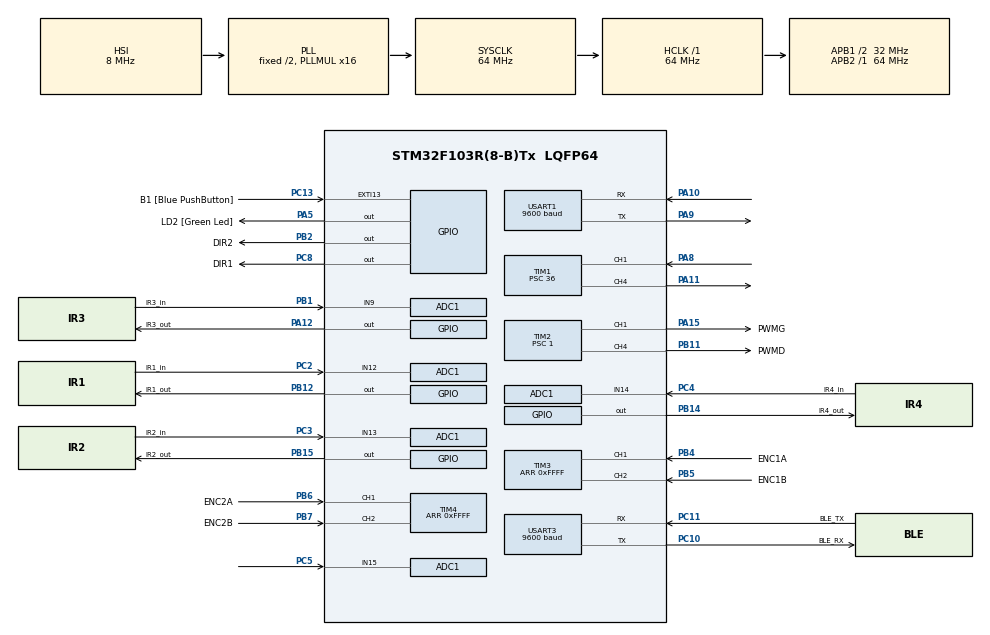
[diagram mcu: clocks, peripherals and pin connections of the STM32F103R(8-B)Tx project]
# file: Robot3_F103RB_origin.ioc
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ADC1.AWD1HighThreshold=3200
ADC1.AWD1ITMode=ENABLE
ADC1.AWD1LowThreshold=3000
ADC1.Channel-0\#ChannelRegularConversion=ADC_CHANNEL_9
ADC1.Channel-1\#ChannelRegularConversion=ADC_CHANNEL_12
ADC1.Channel-2\#ChannelRegularConversion=ADC_CHANNEL_13
ADC1.Channel-3\#ChannelRegularConversion=ADC_CHANNEL_14
ADC1.Channel-4\#ChannelRegularConversion=ADC_CHANNEL_15
ADC1.ContinuousConvMode=DISABLE
ADC1.DataAlign=ADC_DATAALIGN_RIGHT
ADC1.DiscontinuousConvMode=DISABLE
ADC1.EnableAnalogWatchDog=true
ADC1.EnableRegularConversion=ENABLE
ADC1.ExternalTrigConv=ADC_SOFTWARE_START
ADC1.InjNumberOfConversion=0
ADC1.NbrOfConversion=5
ADC1.NbrOfConversionFlag=1
ADC1.Rank-0\#ChannelRegularConversion=1
ADC1.Rank-1\#ChannelRegularConversion=2
ADC1.Rank-2\#ChannelRegularConversion=3
ADC1.Rank-3\#ChannelRegularConversion=4
ADC1.Rank-4\#ChannelRegularConversion=5
ADC1.SamplingTime-0\#ChannelRegularConversion=ADC_SAMPLETIME_239CYCLES_5
ADC1.SamplingTime-1\#ChannelRegularConversion=ADC_SAMPLETIME_239CYCLES_5
ADC1.SamplingTime-2\#ChannelRegularConversion=ADC_SAMPLETIME_239CYCLES_5
ADC1.SamplingTime-3\#ChannelRegularConversion=ADC_SAMPLETIME_239CYCLES_5
ADC1.SamplingTime-4\#ChannelRegularConversion=ADC_SAMPLETIME_1CYCLE_5
ADC1.ScanConvMode=ADC_SCAN_ENABLE
ADC1.WatchdogChannel=ADC_CHANNEL_15
ADC1.master=1
Dma.ADC1.0.Direction=DMA_PERIPH_TO_MEMORY
Dma.ADC1.0.Instance=DMA1_Channel1
Dma.ADC1.0.MemDataAlignment=DMA_MDATAALIGN_HALFWORD
Dma.ADC1.0.MemInc=DMA_MINC_ENABLE
Dma.ADC1.0.Mode=DMA_CIRCULAR
Dma.ADC1.0.PeriphDataAlignment=DMA_PDATAALIGN_HALFWORD
Dma.ADC1.0.PeriphInc=DMA_PINC_DISABLE
Dma.ADC1.0.Priority=DMA_PRIORITY_LOW
Dma.Request0=ADC1
Mcu.Family=STM32F1
Mcu.Name=STM32F103R(8-B)Tx
Mcu.Package=LQFP64
NVIC.ADC1_2_IRQn=true\:0\:0\:false\:false\:true\:true\:true\:true
NVIC.DMA1_Channel1_IRQn=true\:0\:0\:false\:false\:true\:true\:true\:true
NVIC.EXTI15_10_IRQn=true\:0\:0\:false\:true\:true\:1\:true\:true\:true
NVIC.PriorityGroup=NVIC_PRIORITYGROUP_4
NVIC.TIM1_CC_IRQn=true\:0\:0\:false\:false\:true\:true\:true\:true
NVIC.TIM2_IRQn=true\:0\:0\:false\:false\:true\:true\:true\:true
NVIC.USART1_IRQn=true\:0\:0\:false\:false\:true\:true\:true\:true
NVIC.USART3_IRQn=true\:0\:0\:false\:true\:true\:2\:true\:true\:true
PA10.Mode=Asynchronous
PA10.Signal=USART1_RX
PA11.Signal=S_TIM1_CH4
PA12.GPIO_Label=IR3_out
PA12.Signal=GPIO_Output
PA13.GPIO_Label=TMS
PA13.Mode=Serial_Wire
PA13.Signal=SYS_JTMS-SWDIO
PA14.GPIO_Label=TCK
PA14.Mode=Serial_Wire
PA14.Signal=SYS_JTCK-SWCLK
PA15.GPIO_Label=PWMG
PA15.Signal=S_TIM2_CH1_ETR
PA2.GPIO_Label=USART_TX
PA2.GPIO_Mode=GPIO_MODE_AF_PP
PA2.GPIO_PuPd=GPIO_NOPULL
PA2.GPIO_Speed=GPIO_SPEED_FREQ_LOW
PA2.Signal=USART2_TX
PA3.GPIO_Label=USART_RX
PA3.GPIO_Mode=GPIO_MODE_AF_PP
PA3.GPIO_PuPd=GPIO_NOPULL
PA3.GPIO_Speed=GPIO_SPEED_FREQ_LOW
PA3.Signal=USART2_RX
PA5.GPIO_Label=LD2 [Green Led]
PA5.GPIO_ModeDefaultOutputPP=GPIO_MODE_OUTPUT_PP
PA5.GPIO_PuPd=GPIO_NOPULL
PA5.GPIO_Speed=GPIO_SPEED_FREQ_LOW
PA5.Signal=GPIO_Output
PA8.Signal=S_TIM1_CH1
PA9.Mode=Asynchronous
PA9.Signal=USART1_TX
PB1.GPIO_Label=IR3_in
PB1.Signal=ADCx_IN9
PB11.GPIO_Label=PWMD
PB11.Signal=S_TIM2_CH4
PB12.GPIO_Label=IR1_out
PB12.Signal=GPIO_Output
PB14.GPIO_Label=IR4_out
PB14.Signal=GPIO_Output
PB15.GPIO_Label=IR2_out
PB15.Signal=GPIO_Output
PB2.GPIO_Label=DIR2
PB2.Signal=GPIO_Output
PB3.GPIO_Label=SWO
PB3.Signal=SYS_JTDO-TRACESWO
PB4.GPIO_Label=ENC1A
PB4.Signal=S_TIM3_CH1
PB5.GPIO_Label=ENC1B
PB5.Signal=S_TIM3_CH2
PB6.GPIO_Label=ENC2A
PB6.Signal=S_TIM4_CH1
PB7.GPIO_Label=ENC2B
PB7.Signal=S_TIM4_CH2
PC10.GPIO_Label=BLE_RX
PC10.Mode=Asynchronous
PC10.Signal=USART3_TX
PC11.GPIO_Label=BLE_TX
PC11.Mode=Asynchronous
PC11.Signal=USART3_RX
PC13-TAMPER-RTC.GPIO_Label=B1 [Blue PushButton]
PC13-TAMPER-RTC.GPIO_ModeDefaultEXTI=GPIO_MODE_IT_FALLING
PC13-TAMPER-RTC.GPIO_PuPd=GPIO_NOPULL
PC13-TAMPER-RTC.Signal=GPXTI13
PC14-OSC32_IN.Signal=RCC_OSC32_IN
PC15-OSC32_OUT.Signal=RCC_OSC32_OUT
PC2.GPIO_Label=IR1_in
PC2.Signal=ADCx_IN12
PC3.GPIO_Label=IR2_in
PC3.Signal=ADCx_IN13
PC4.GPIO_Label=IR4_in
PC4.Signal=ADCx_IN14
PC5.Signal=ADCx_IN15
PC8.GPIO_Label=DIR1
PC8.Signal=GPIO_Output
PD0-OSC_IN.Signal=RCC_OSC_IN
PD1-OSC_OUT.Signal=RCC_OSC_OUT
ProjectManager.HeapSize=0x200
ProjectManager.StackSize=0x400
ProjectManager.TargetToolchain=STM32CubeIDE
RCC.ADCPresc=RCC_ADCPCLK2_DIV8
RCC.AHBFreq_Value=64000000
RCC.APB1CLKDivider=RCC_HCLK_DIV2
RCC.APB1Freq_Value=32000000
RCC.APB1TimFreq_Value=64000000
RCC.APB2Freq_Value=64000000
RCC.APB2TimFreq_Value=64000000
RCC.HCLKFreq_Value=64000000
RCC.PLLMUL=RCC_PLL_MUL16
RCC.SYSCLKFreq_VALUE=64000000
RCC.SYSCLKSource=RCC_SYSCLKSOURCE_PLLCLK
RCC.USBFreq_Value=64000000
SH.ADCx_IN12.0=ADC1_IN12,IN12
SH.ADCx_IN13.0=ADC1_IN13,IN13
SH.ADCx_IN14.0=ADC1_IN14,IN14
SH.ADCx_IN15.0=ADC1_IN15,IN15
SH.ADCx_IN9.0=ADC1_IN9,IN9
SH.S_TIM1_CH1.0=TIM1_CH1,PWM_Input_1
SH.S_TIM1_CH4.0=TIM1_CH4,PWM Generation4 CH4
SH.S_TIM2_CH1_ETR.0=TIM2_CH1,PWM Generation1 CH1
SH.S_TIM2_CH4.0=TIM2_CH4,PWM Generation4 CH4
SH.S_TIM3_CH1.0=TIM3_CH1,Encoder_Interface
SH.S_TIM3_CH2.0=TIM3_CH2,Encoder_Interface
SH.S_TIM4_CH1.0=TIM4_CH1,Encoder_Interface
SH.S_TIM4_CH2.0=TIM4_CH2,Encoder_Interface
TIM1.AutoReloadPreload=TIM_AUTORELOAD_PRELOAD_ENABLE
TIM1.Channel-PWM\ Generation4\ CH4=TIM_CHANNEL_4
TIM1.ICFilter_1=5
TIM1.ICFilter_2=5
TIM1.Period=0xFFFF
TIM1.Prescaler=36
TIM2.AutoReloadPreload=TIM_AUTORELOAD_PRELOAD_DISABLE
TIM2.Channel-Output\ Compare2\ No\ Output=TIM_CHANNEL_2
TIM2.Channel-PWM\ Generation1\ CH1=TIM_CHANNEL_1
TIM2.Channel-PWM\ Generation4\ CH4=TIM_CHANNEL_4
TIM2.Period=64000
TIM2.Prescaler=1
TIM3.AutoReloadPreload=TIM_AUTORELOAD_PRELOAD_ENABLE
TIM3.EncoderMode=TIM_ENCODERMODE_TI12
TIM3.IC1Filter=8
TIM3.IC1Polarity=TIM_ICPOLARITY_RISING
TIM3.IC2Filter=8
TIM3.IC2Polarity=TIM_ICPOLARITY_RISING
TIM3.Period=0xFFFF
TIM4.AutoReloadPreload=TIM_AUTORELOAD_PRELOAD_ENABLE
TIM4.EncoderMode=TIM_ENCODERMODE_TI12
TIM4.IC1Filter=8
TIM4.IC1Polarity=TIM_ICPOLARITY_RISING
TIM4.IC2Filter=8
TIM4.IC2Polarity=TIM_ICPOLARITY_RISING
TIM4.Period=0xFFFF
USART1.BaudRate=9600
USART1.VirtualMode=VM_ASYNC
USART3.BaudRate=9600
USART3.VirtualMode=VM_ASYNC
VP_TIM2_VS_ClockSourceINT.Mode=Internal
VP_TIM2_VS_no_output2.Mode=Output Compare2 No Output
board=NUCLEO-F103RB

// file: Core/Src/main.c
/* USER CODE BEGIN Header */
/**
  ******************************************************************************
  * @file           : main.c
  * @brief          : Main program body
  ******************************************************************************
  * @attention
  *
  * <h2><center>&copy; Copyright (c) 2020 STMicroelectronics.
  * All rights reserved.</center></h2>
  *
  * This software component is licensed by ST under BSD 3-Clause license,
  * the "License"; You may not use this file except in compliance with the
  * License. You may obtain a copy of the License at:
  *                        opensource.org/licenses/BSD-3-Clause
  *
  ******************************************************************************
  */
/* USER CODE END Header */
#include "main.h"
#include "adc.h"
#include "dma.h"
#include "tim.h"
#include "usart.h"
#include "gpio.h"

/* USER CODE BEGIN Includes */
#include <stdlib.h>
#include <stdio.h>
/* USER CODE END Includes */

/* USER CODE BEGIN PV */
#define AVANCE 	GPIO_PIN_SET
#define RECULE  GPIO_PIN_RESET
#define POURCENT 640
#define Seuil_Dist_4 1600 // corespond à 10 cm.
#define Seuil_Dist_3 1600
#define Seuil_Dist_1 1600
#define Seuil_Dist_2 1600
#define V1 38
#define V2 56
#define V3 76
#define Vmax 95
#define T_2_S     1000 //( pwm période = 2 ms )
#define T_200_MS  100
#define T_2000_MS 1000
#define CKp_D 100  //80 Robot1
#define CKp_G 100  //80 Robot1
#define CKi_D 80  //50 Robot1
#define CKi_G 80  //50 Robot1
#define CKd_D 0
#define CKd_G 0
#define DELTA 0x50

#define PWM_180 1500
#define PWM_90  2700
#define PWM_0   3900

#define TURN_SERVO_TIME 600
#define TURN_LEFT_TIME  1150
#define TURN_RIGHT_TIME 1150
#define FORWARD_50_TIME 1000

#define cptRota 2000

enum CMDE {
	START,
	STOP,
	STOP_ARRET,
	AVANT,
	ARRIERE,
	DROITE,
	GAUCHE,
	SERVO_ROTATE_0,
	SERVO_ROTATE_90,
	SERVO_ROTATE_180,
	PARK,
	MOV_PARK
};

enum MODE {
	SLEEP, ACTIF
};

enum Mesure_State {
	SERVO_ROTATE_Y,
	MESURE_Y,
	SERVO_ROTATE_X,
	MESURE_X,
	SERVO_ROTATE_Z,
	MESURE_Z,
	END
};

enum MovPark_State {
	FORWARD,
	POSITION,
	TURN_R1,
	TURN_L1,
	TURN_R2,
	TURN_L2,
	FORWARD_Y,
	FORWARD_Z,
	FORWARD_X,
	FINISH
};

enum Mean_Distance_State {
	WAIT_MESURE,
	MEAN_MESURE
};

enum Mean_Distance_State Distance_State = WAIT_MESURE;
enum MovPark_State MovPark_State = FINISH;
volatile enum CMDE CMDE;
enum Mesure_State Mesure_State = END;
volatile enum MODE Mode;

volatile unsigned char New_CMDE = 0;
volatile uint16_t Dist_ACS_1, Dist_ACS_2, Dist_ACS_3, Dist_ACS_4;
volatile unsigned int Time = 0;
volatile unsigned int Tech = 0;
uint16_t adc_buffer[10];
uint16_t Buff_Dist[8];
uint8_t BLUE_RX;

uint16_t _DirG, _DirD, CVitG, CVitD, DirD, DirG;
uint16_t _CVitD = 0;
uint16_t _CVitG = 0;
uint16_t VitD, VitG;
int16_t DistD, DistG;
int16_t DistD_old = 0;
int16_t DistG_old = 0;
int Cmde_VitD = 0;
int Cmde_VitG = 0;
unsigned long Dist_parcours = 0;
volatile uint32_t Dist_Obst;
volatile uint32_t Dist_Obst_;
volatile uint32_t Dist_Obst_cm;
volatile uint32_t Derniere_Dist_Obst_cm;

// ADDED VARIABLES
uint32_t Dist;
volatile uint32_t vbatt; //  STOCKER LA TENSION MESURÉE DE LA BATTERIE
// REPÉRAGE SPATIALE DU ROBOT
static uint32_t z0;
static uint32_t x0;
static uint32_t y0;
static uint32_t z;
static uint32_t x;
static uint32_t y;
// COMPTEURS POUR LE DÉPLACEMENT
volatile uint16_t TurnServoCounter = 0;
volatile uint16_t TurnCounter = 0;
volatile uint16_t tour_dist = 0;
static uint8_t tab_elem = 0;
// SIGNAUX DE CONTRÔLE DES ACTIONS DU ROBOT
volatile uint8_t Mesure_On   = 0;
volatile uint8_t Mesure_Park_On   = 0;
volatile uint8_t Mean         = 1;
volatile uint8_t MovPark_On   = 0;
volatile uint8_t TurnRightOn = 0;
volatile uint8_t TurnLeftOn  = 0;
// MESURE DISTANCE SONAR
volatile uint32_t Dist_Obst_cm_moy;
volatile uint32_t Dist_cm[5] = {0, 0, 0, 0, 0};
// ZIGBEE
volatile uint8_t buffer[3] = {1, 2, 3};

/* USER CODE END PV */

void SystemClock_Config(void);
static void MX_NVIC_Init(void);
/* USER CODE BEGIN PFP */
void Gestion_Commandes(void);
void regulateur(void);
void controle(void);
void Calcul_Vit(void);
void ACS(void);
void SonarStart(void);
void ServoAngle(int16_t angle);
void MesurePOsition(void);
void MES_PARK(void);
void TurnRight(void);
void TurnLeft(void);
void MOVPARK(void);
void SonarDistance(void);
void ENVOYER(void);
void SonarStop(void);
/* USER CODE END PFP */

int main(void)
{

  /* MCU Configuration--------------------------------------------------------*/

  /* Reset of all peripherals, Initializes the Flash interface and the Systick. */
  HAL_Init();

  /* USER CODE BEGIN Init */
  Dist_Obst = 0;

  /* USER CODE END Init */

  /* Configure the system clock */
  SystemClock_Config();

  /* Initialize all configured peripherals */
  MX_GPIO_Init();
  MX_DMA_Init();
  MX_ADC1_Init();
  MX_TIM2_Init();
  MX_TIM3_Init();
  MX_TIM4_Init();
  MX_USART3_UART_Init();
  MX_TIM1_Init();
  MX_USART1_UART_Init();

  /* Initialize interrupts */
  MX_NVIC_Init();
  /* USER CODE BEGIN 2 */
  HAL_SuspendTick(); // suppresion des Tick interrupt pour le mode sleep.
  HAL_TIM_PWM_Start(&htim2, TIM_CHANNEL_4);  // Start PWM motor
  HAL_TIM_PWM_Start(&htim2, TIM_CHANNEL_1);
  CMDE = STOP;
  New_CMDE = 1;
  HAL_TIM_Base_Start_IT(&htim2);  // Start IT sur font montant PWM
  HAL_TIM_Encoder_Start(&htim3, TIM_CHANNEL_ALL);
  HAL_TIM_Encoder_Start(&htim4, TIM_CHANNEL_ALL);
  HAL_UART_Receive_IT(&huart3, &BLUE_RX, 1);
  HAL_TIM_IC_Start_IT(&htim1, TIM_CHANNEL_2);
  HAL_TIM_PWM_Start(&htim1, TIM_CHANNEL_4);
  /* USER CODE END 2 */

  /* Infinite loop */
  /* USER CODE BEGIN WHILE */

  SonarStart();
  for (uint8_t i=0; i<5; i++){
	  SonarDistance();
  }

  while (1)
  {
	  Gestion_Commandes();
	  controle();
	  SonarDistance();

    /* USER CODE END WHILE */

  }
}

void SystemClock_Config(void)
{
  RCC_OscInitTypeDef RCC_OscInitStruct   = {0};
  RCC_ClkInitTypeDef RCC_ClkInitStruct   = {0};
  RCC_PeriphCLKInitTypeDef PeriphClkInit = {0};

  /** Initializes the RCC Oscillators according to the specified parameters
  * in the RCC_OscInitTypeDef structure.
  */
  RCC_OscInitStruct.OscillatorType      = RCC_OSCILLATORTYPE_HSI;
  RCC_OscInitStruct.HSIState            = RCC_HSI_ON;
  RCC_OscInitStruct.HSICalibrationValue = RCC_HSICALIBRATION_DEFAULT;
  RCC_OscInitStruct.PLL.PLLState        = RCC_PLL_ON;
  RCC_OscInitStruct.PLL.PLLSource       = RCC_PLLSOURCE_HSI_DIV2;
  RCC_OscInitStruct.PLL.PLLMUL          = RCC_PLL_MUL16;
  if (HAL_RCC_OscConfig(&RCC_OscInitStruct) != HAL_OK)
  {
    Error_Handler();
  }

  /** Initializes the CPU, AHB and APB buses clocks
  */
  RCC_ClkInitStruct.ClockType      = RCC_CLOCKTYPE_HCLK|RCC_CLOCKTYPE_SYSCLK
                                  |RCC_CLOCKTYPE_PCLK1|RCC_CLOCKTYPE_PCLK2;
  RCC_ClkInitStruct.SYSCLKSource   = RCC_SYSCLKSOURCE_PLLCLK;
  RCC_ClkInitStruct.AHBCLKDivider  = RCC_SYSCLK_DIV1;
  RCC_ClkInitStruct.APB1CLKDivider = RCC_HCLK_DIV2;
  RCC_ClkInitStruct.APB2CLKDivider = RCC_HCLK_DIV1;

  if (HAL_RCC_ClockConfig(&RCC_ClkInitStruct, FLASH_LATENCY_2) != HAL_OK)
  {
    Error_Handler();
  }
  PeriphClkInit.PeriphClockSelection = RCC_PERIPHCLK_ADC;
  PeriphClkInit.AdcClockSelection    = RCC_ADCPCLK2_DIV8;
  if (HAL_RCCEx_PeriphCLKConfig(&PeriphClkInit) != HAL_OK)
  {
    Error_Handler();
  }
}

/**
  * @brief NVIC Configuration.
  * @retval None
  */
static void MX_NVIC_Init(void)
{
  /* EXTI15_10_IRQn interrupt configuration */
  HAL_NVIC_SetPriority(EXTI15_10_IRQn, 0, 0);
  HAL_NVIC_EnableIRQ(EXTI15_10_IRQn);
  /* USART3_IRQn interrupt configuration */
  HAL_NVIC_SetPriority(USART3_IRQn, 0, 0);
  HAL_NVIC_EnableIRQ(USART3_IRQn);
}

/* USER CODE BEGIN 4 */
void Gestion_Commandes(void) {
	enum ETAT {
		VEILLE,
		ARRET,
		AV1,
		AV2,
		AV3,
		RV1,
		RV2,
		RV3,
		DV1,
		DV2,
		DV3,
		GV1,
		GV2,
		GV3
	};
	static enum ETAT Etat = VEILLE;

	if (MovPark_On)
		MOVPARK();

	if (Mesure_Park_On)
		MES_PARK();

if (New_CMDE) {
		New_CMDE = 0;
	switch (CMDE) {
		case STOP_ARRET: {
			// STOP SANS METTRE EN VEILLE
			_CVitD = 0;
			_CVitG = 0;
			Etat   = ARRET;
			Mode   = SLEEP;
			break;
		}
		case STOP: {
			_CVitD = _CVitG = 0;
			// Mise en sommeil: STOP mode , réveil via IT BP1
			Etat = VEILLE;
			Mode = SLEEP;

			break;
		}
		case START: {
			// réveil sytème grace à l'IT BP1
			Etat = ARRET;
			Mode = SLEEP;

			break;
		}
		case AVANT: {
			switch (Etat) {
			case VEILLE: {
				Etat = VEILLE;
				Mode = SLEEP;
				break;
			}
			case ARRET: {
				_DirG  = AVANCE;
				_DirD  = AVANCE;
				_CVitG = V1;
				_CVitD = V1;
				Etat   = AV1;
				Mode   = ACTIF;
				break;
			}
			case AV1: {
				_DirG  = AVANCE;
				_DirD  = AVANCE;
				_CVitG = V2;
				_CVitD = V2;
				Etat   = AV2;
				Mode   = ACTIF;
				break;
			}
			case AV2: {
				_DirG  = AVANCE;
				_DirD  = AVANCE;
				_CVitG = V3;
				_CVitD = V3 ;
				Etat   = AV3;
				Mode   = ACTIF;
				break;
			}
			case AV3: {
				_DirG = AVANCE;
				_DirD = AVANCE;
				_CVitG = V3;
				_CVitD = V3 ;
				Etat   = AV3;
				Mode   = ACTIF;
				break;
			}
			case RV1: {
				_DirG  = RECULE;
				_DirD  = RECULE;
				_CVitG = 0;
				_CVitD = 0;
				Etat   = ARRET;
				Mode   = SLEEP;

				break;
			}
			case RV2: {
				_DirG = RECULE;
				_DirD = RECULE;
				_CVitG = V1;
				_CVitD = V1;
				Etat = RV1;
				Mode = ACTIF;
				break;
			}
			case RV3: {
				_DirG = RECULE;
				_DirD = RECULE;
				_CVitG = V2;
				_CVitD = V2;
				Etat = RV2;
				Mode = ACTIF;
				break;
			}
			case DV1: {
				_DirG = AVANCE;
				_DirD = AVANCE;
				_CVitG = V1;
				_CVitD = V1;
				Etat = AV1;
				Mode = ACTIF;
				break;
			}
			case DV2: {
				_DirG = AVANCE;
				_DirD = AVANCE;
				_CVitG = V2;
				_CVitD = V2;
				Etat = AV2;
				Mode = ACTIF;
				break;
			}
			case DV3: {
				_DirG = AVANCE;
				_DirD = AVANCE;
				_CVitG = V3;
				_CVitD = V3;
				Etat = AV3;
				Mode = ACTIF;
				break;
			}
			case GV1: {
				_DirG = AVANCE;
				_DirD = AVANCE;
				_CVitG = V1;
				_CVitD = V1;
				Etat = AV2;
				Mode = ACTIF;
				break;
			}
			case GV2: {
				_DirG = AVANCE;
				_DirD = AVANCE;
				_CVitG = V2;
				_CVitD = V2;
				Etat = AV2;
				Mode = ACTIF;
				break;
			}
			case GV3: {
				_DirG = AVANCE;
				_DirD = AVANCE;
				_CVitG = V3;
				_CVitD = V3;
				Etat = AV3;
				Mode = ACTIF;
				break;
			}
			}
			break;
		}
		case ARRIERE: {
			switch (Etat) {
			case VEILLE: {
				Etat = VEILLE;
				Mode = SLEEP;
				break;
			}
			case ARRET: {
				_DirG = RECULE;
				_DirD = RECULE;
				_CVitG = V1;
				_CVitD = V1;
				Etat = RV1;
				Mode = ACTIF;
				break;
			}
			case AV1: {
				_DirG = AVANCE;
				_DirD = AVANCE;
				_CVitG = 0;
				_CVitD = 0;
				Etat = ARRET;
				Mode = SLEEP;

				break;
			}
			case AV2: {
				_DirG = AVANCE;
				_DirD = AVANCE;
				_CVitG = V1;
				_CVitD = V1;
				Etat = AV1;
				Mode = ACTIF;
				break;
			}
			case AV3: {
				_DirG = AVANCE;
				_DirD = AVANCE;
				_CVitG = V2;
				_CVitD = V2;
				Etat = AV2;
				Mode = ACTIF;
				break;
			}
			case RV1: {
				_DirG = RECULE;
				_DirD = RECULE;
				_CVitG = V2;
				_CVitD = V2;
				Etat = RV2;
				Mode = ACTIF;
				break;
			}
			case RV2: {
				_DirG = RECULE;
				_DirD = RECULE;
				_CVitG = V3;
				_CVitD = V3;
				Etat = RV3;
				Mode = ACTIF;
				break;
			}
			case RV3: {
				_DirG = RECULE;
				_DirD = RECULE;
				_CVitG = V3;
				_CVitD = V3;
				Etat = RV3;
				Mode = ACTIF;
				break;
			}
			case DV1: {
				_DirG = RECULE;
				_DirD = RECULE;
				_CVitG = V1;
				_CVitD = V1;
				Etat = RV1;
				Mode = ACTIF;
				break;
			}
			case DV2: {
				_DirG = RECULE;
				_DirD = RECULE;
				_CVitG = V2;
				_CVitD = V2;
				Etat = RV2;
				Mode = ACTIF;
				break;
			}
			case DV3: {
				_DirG = RECULE;
				_DirD = RECULE;
				_CVitG = V3;
				_CVitD = V3;
				Etat = RV3;
				Mode = ACTIF;
				break;
			}
			case GV1: {
				_DirG = RECULE;
				_DirD = RECULE;
				_CVitG = V1;
				_CVitD = V1;
				Etat = RV1;
				Mode = ACTIF;
				break;
			}
			case GV2: {
				_DirG = RECULE;
				_DirD = RECULE;
				_CVitG = V2;
				_CVitD = V2;
				Etat = RV2;
				Mode = ACTIF;
				break;
			}
			case GV3: {
				_DirG = RECULE;
				_DirD = RECULE;
				_CVitG = V3;
				_CVitD = V3;
				Etat = RV3;
				Mode = ACTIF;
				break;
			}
			}
			break;
		}
		case DROITE: {
			switch (Etat) {
			case VEILLE: {
				Etat = VEILLE;
				Mode = SLEEP;
				break;
			}
			case ARRET: {
				_DirG = AVANCE;
				_DirD = RECULE;
				_CVitG = V1;
				_CVitD = V1;
				Etat = DV1;
				Mode = ACTIF;
				break;
			}
			case AV1: {
				_DirG = AVANCE;
				_DirD = RECULE;
				_CVitG = V1;
				_CVitD = V1;
				Etat = DV1;
				Mode = ACTIF;
				break;
			}
			case AV2: {
				_DirG = AVANCE;
				_DirD = RECULE;
				_CVitG = V2;
				_CVitD = V2;
				Etat = DV2;
				Mode = ACTIF;
				break;
			}
			case AV3: {
				_DirG = AVANCE;
				_DirD = RECULE;
				_CVitG = V3;
				_CVitD = V3;
				Etat = DV3;
				Mode = ACTIF;
				break;
			}
			case RV1: {
				_DirG = AVANCE;
				_DirD = RECULE;
				_CVitG = V1;
				_CVitD = V1;
				Etat = DV1;
				Mode = ACTIF;
				break;
			}
			case RV2: {
				_DirG = AVANCE;
				_DirD = RECULE;
				_CVitG = V2;
				_CVitD = V2;
				Etat = DV2;
				Mode = ACTIF;
				break;
			}
			case RV3: {
				_DirG = AVANCE;
				_DirD = RECULE;
				_CVitG = V3;
				_CVitD = V3;
				Etat = DV3;
				Mode = ACTIF;
				break;
			}
			case DV1: {
				_DirG = AVANCE;
				_DirD = RECULE;
				_CVitG = V2;
				_CVitD = V2;
				Etat = DV2;
				Mode = ACTIF;
				break;
			}
			case DV2: {
				_DirG = AVANCE;
				_DirD = RECULE;
				_CVitG = V3;
				_CVitD = V3;
				Etat = DV3;
				Mode = ACTIF;
				break;
			}
			case DV3: {
				_DirG = AVANCE;
				_DirD = RECULE;
				_CVitG = V3;
				_CVitD = V3;
				Etat = DV3;
				Mode = ACTIF;
				break;
			}
			case GV1: {
				_DirG = RECULE;
				_DirD = RECULE;
				_CVitG = 0;
				_CVitD = 0;
				Etat = ARRET;
				Mode = SLEEP;

				break;
			}
			case GV2: {
				_DirG = RECULE;
				_DirD = AVANCE;
				_CVitG = V1;
				_CVitD = V1;
				Etat = GV1;
				Mode = ACTIF;
				break;
			}
			case GV3: {
				_DirG = RECULE;
				_DirD = AVANCE;
				_CVitG = V2;
				_CVitD = V2;
				Etat = GV2;
				Mode = ACTIF;
				break;
			}
			}
			break;
		}
		case GAUCHE: {
			switch (Etat) {
			case VEILLE: {
				Etat = VEILLE;
				Mode = SLEEP;
				break;
			}
			case ARRET: {
				_DirG = RECULE;
				_DirD = AVANCE;
				_CVitG = V1;
				_CVitD = V1;
				Etat = GV1;
				Mode = ACTIF;
				break;
			}
			case AV1: {
				_DirG = RECULE;
				_DirD = AVANCE;
				_CVitG = V1;
				_CVitD = V1;
				Etat = GV1;
				Mode = ACTIF;
				break;
			}
			case AV2: {
				_DirG = RECULE;
				_DirD = AVANCE;
				_CVitG = V2;
				_CVitD = V2;
				Etat = GV2;
				Mode = ACTIF;
				break;
			}
			case AV3: {
				_DirG = RECULE;
				_DirD = AVANCE;
				_CVitG = V3;
				_CVitD = V3;
				Etat = GV3;
				Mode = ACTIF;
				break;
			}
			case RV1: {
				_DirG = RECULE;
				_DirD = AVANCE;
				_CVitG = V1;
				_CVitD = V1;
				Etat = GV1;
				Mode = ACTIF;
				break;
			}
			case RV2: {
				_DirG = RECULE;
				_DirD = AVANCE;
				_CVitG = V2;
				_CVitD = V2;
				Etat = GV2;
				Mode = ACTIF;
				break;
			}
			case RV3: {
				_DirG = RECULE;
				_DirD = AVANCE;
				_CVitG = V3;
				_CVitD = V3;
				Etat = GV3;
				Mode = ACTIF;
				break;
			}
			case DV1: {
				_DirG = RECULE;
				_DirD = RECULE;
				_CVitG = 0;
				_CVitD = 0;
				Etat = ARRET;
				Mode = SLEEP;

				break;
			}
			case DV2: {
				_DirG = AVANCE;
				_DirD = RECULE;
				_CVitG = V1;
				_CVitD = V1;
				Etat = DV1;
				Mode = ACTIF;
				break;
			}
			case DV3: {
				_DirG = AVANCE;
				_DirD = RECULE;
				_CVitG = V2;
				_CVitD = V2;
				Etat = DV2;
				Mode = ACTIF;
				break;
			}
			case GV1: {
				_DirG = RECULE;
				_DirD = AVANCE;
				_CVitG = V2;
				_CVitD = V2;
				Etat = GV2;
				Mode = ACTIF;
				break;
			}
			case GV2: {
				_DirG = RECULE;
				_DirD = AVANCE;
				_CVitG = V3;
				_CVitD = V3;
				Etat = GV3;
				Mode = ACTIF;
				break;
			}
			case GV3: {
				_DirG = RECULE;
				_DirD = AVANCE;
				_CVitG = V3;
				_CVitD = V3;
				Etat = GV3;
				Mode = ACTIF;
				break;
			}

		}
			break;
		}
		case SERVO_ROTATE_0: {
			ServoAngle(0);
			break;
		}
		case SERVO_ROTATE_90: {
			ServoAngle(90);
			break;
		}
		case SERVO_ROTATE_180: {
			ServoAngle(180);
			break;
		}
		case PARK: {
			//Mesure_On = 1;
			Mesure_Park_On = 1;
			Mesure_State = SERVO_ROTATE_Y;
			break;
		}
		case MOV_PARK: {
			MovPark_On       = 1;
			MovPark_State    = FORWARD;
			TurnServoCounter = 0;
			break;
		}
	}
}
}
void controle(void) {

	if (Tech >= T_200_MS) {
		Tech = 0;
		ACS();
		Calcul_Vit();
		regulateur();
	}

}

void ACS(void) {
	enum ETAT {
		ARRET, ACTIF
	};
	static enum ETAT Etat = ARRET;
	static uint16_t Delta1 = 0;
	static uint16_t Delta2 = 0;
	static uint16_t Delta3 = 0;
	static uint16_t Delta4 = 0;

	switch (Etat) {
	case ARRET: {
		if (Mode == ACTIF )
			Etat = ACTIF;
		else {
			CVitD = _CVitD;
			CVitG = _CVitG;
			DirD = _DirD;
			DirG = _DirG;
		}
		break;
	}
	case ACTIF: {
		if (Mode == SLEEP)
			Etat = ARRET;
		if (_DirD == AVANCE && _DirG == AVANCE) {
			if ((Dist_ACS_1 < Seuil_Dist_1 - Delta1)
					&& (Dist_ACS_2 < Seuil_Dist_2 - Delta2)) {
				CVitD = _CVitD;
				CVitG = _CVitG;
				DirD = _DirD;
				DirG = _DirG;
				Delta1 = Delta2 = 0;
			} else if ((Dist_ACS_1 < Seuil_Dist_1)
					&& (Dist_ACS_2 > Seuil_Dist_2)) {
				CVitD = V1;
				CVitG = V1;
				DirG = AVANCE;
				DirD = RECULE;
				Delta2 = DELTA;
			} else if ((Dist_ACS_1 > Seuil_Dist_1)
					&& (Dist_ACS_2 < Seuil_Dist_2)) {
				CVitD = V1;
				CVitG = V1;
				DirD = AVANCE;
				DirG = RECULE;
				Delta1 = DELTA;
			} else if ((Dist_ACS_1 > Seuil_Dist_1)
					&& (Dist_ACS_2 > Seuil_Dist_2)) {
				CVitD = 0;
				CVitG = 0;
				DirD = RECULE;
				DirG = RECULE;
			}
		} else if (_DirD == RECULE && _DirG == RECULE) {
			if ((Dist_ACS_3 < Seuil_Dist_3 - Delta3)
					&& (Dist_ACS_4 < Seuil_Dist_4 - Delta4)) {
				CVitD = _CVitD;
				CVitG = _CVitG;
				DirD = _DirD;
				DirG = _DirG;
				Delta3 = Delta4 = 0;
			} else if ((Dist_ACS_3 > Seuil_Dist_3)
					&& (Dist_ACS_4 < Seuil_Dist_4)) {
				CVitD = V1;
				CVitG = V1;
				DirD = AVANCE;
				DirG = RECULE;
				Delta3 = DELTA;
			} else if ((Dist_ACS_3 < Seuil_Dist_3)
					&& (Dist_ACS_4 > Seuil_Dist_4)) {
				CVitD = V1;
				CVitG = V1;
				DirG = AVANCE;
				DirD = RECULE;
				Delta4 = DELTA;
			} else if ((Dist_ACS_3 > Seuil_Dist_3)
					&& (Dist_ACS_4 > Seuil_Dist_4)) {
				CVitD = 0;
				CVitG = 0;
				DirD = RECULE;
				DirG = RECULE;
			}
		} else {
			CVitD = _CVitD;
			CVitG = _CVitG;
			DirD = _DirD;
			DirG = _DirG;
		}
		break;
	}
	}
}

void Calcul_Vit(void) {

	DistD = __HAL_TIM_GET_COUNTER(&htim3);
	DistG = __HAL_TIM_GET_COUNTER(&htim4);
	VitD = abs(DistD - DistD_old);
	VitG = abs(DistG - DistG_old);
	DistD_old = DistD;
	DistG_old = DistG;
	if (DirD == DirG) {
		Dist_parcours = Dist_parcours + ((VitD + VitG) >> 1);
	}
}

void regulateur(void) {
	enum ETAT {
		ARRET, ACTIF
	};
	static enum ETAT Etat = ARRET;
	uint16_t Kp_D = CKp_D;
	uint16_t Kp_G = CKp_G;
	uint16_t Ki_D = CKi_D;
	uint16_t Ki_G = CKi_G;
	uint16_t Kd_D = CKd_D;
	uint16_t Kd_G = CKd_G;

	static int16_t ErreurD = 0;
	static int16_t ErreurG = 0;
	static int16_t ErreurD_old = 0;
	static int16_t ErreurG_old = 0;
	static int16_t S_erreursD = 0;
	static int16_t S_erreursG = 0;
	static int16_t V_erreurD = 0;
	static int16_t V_erreurG = 0;

	switch (Etat) {
	case ARRET: {
		if (Mode == ACTIF)
			Etat = ACTIF;
		else {
			__HAL_TIM_SET_COMPARE(&htim2, TIM_CHANNEL_4, 0);
			__HAL_TIM_SET_COMPARE(&htim2, TIM_CHANNEL_1, 0);
			HAL_TIM_PWM_Stop(&htim2, TIM_CHANNEL_4);
			HAL_TIM_PWM_Stop(&htim2, TIM_CHANNEL_1);
			HAL_GPIO_WritePin(IR3_out_GPIO_Port, IR3_out_Pin, GPIO_PIN_RESET);
			HAL_GPIO_WritePin(IR4_out_GPIO_Port, IR4_out_Pin, GPIO_PIN_RESET);
			HAL_GPIO_WritePin(IR1_out_GPIO_Port, IR1_out_Pin, GPIO_PIN_RESET);
			HAL_GPIO_WritePin(IR2_out_GPIO_Port, IR2_out_Pin, GPIO_PIN_RESET);

			HAL_PWR_EnterSLEEPMode(PWR_LOWPOWERREGULATOR_ON,
					PWR_SLEEPENTRY_WFI);

			__HAL_TIM_SET_COMPARE(&htim2, TIM_CHANNEL_4, 0);
			__HAL_TIM_SET_COMPARE(&htim2, TIM_CHANNEL_1, 0);
			HAL_TIM_PWM_Start(&htim2, TIM_CHANNEL_4);
			HAL_TIM_PWM_Start(&htim2, TIM_CHANNEL_1);
			Time = 0;
		}
		break;
	}
	case ACTIF: {
		if ((CVitD != 0) && (CVitG != 0))
			Time = 0;
		if ((Mode == SLEEP) && (VitD == 0) && (VitG == 0) && Time > T_2_S)
			Etat = ARRET;
		else {
			ErreurD = CVitD - VitD;
			ErreurG = CVitG - VitG;
			S_erreursD += ErreurD;
			S_erreursG += ErreurG;
			V_erreurD = ErreurD - ErreurD_old;
			V_erreurG = ErreurG - ErreurG_old;
			ErreurD_old = ErreurD;
			ErreurG_old = ErreurG;
			Cmde_VitD = (unsigned int) Kp_D * (int) (ErreurD)
					+ (unsigned int) Ki_D * ((int) S_erreursD)
					+ (unsigned int) Kd_D * (int) V_erreurD;
			Cmde_VitG = (unsigned int) Kp_G * (int) (ErreurG)
					+ (unsigned int) Ki_G * ((int) S_erreursG)
					+ (unsigned int) Kd_G * (int) V_erreurG;

			//Cmde_VitD = _CVitD*640;
			//Cmde_VitG = _CVitG*640;
			//	DirD = _DirD;
			//	DirG= _DirG;

			if (Cmde_VitD < 0)
				Cmde_VitD = 0;
			if (Cmde_VitG < 0)
				Cmde_VitG = 0;
			if (Cmde_VitD > 100 * POURCENT)
				Cmde_VitD = 100 * POURCENT;
			if (Cmde_VitG > 100 * POURCENT)
				Cmde_VitG = 100 * POURCENT;
			__HAL_TIM_SET_COMPARE(&htim2, TIM_CHANNEL_1, (uint16_t ) Cmde_VitG);
			__HAL_TIM_SET_COMPARE(&htim2, TIM_CHANNEL_4, (uint16_t ) Cmde_VitD);
			HAL_GPIO_WritePin(DIR1_GPIO_Port, DIR1_Pin, (GPIO_PinState) DirD);
			HAL_GPIO_WritePin(DIR2_GPIO_Port, DIR2_Pin, (GPIO_PinState) DirG);

		}
		break;
	}
	}
}

void HAL_UART_RxCpltCallback(UART_HandleTypeDef *huart) {
	if (huart->Instance == USART3) {

		switch (BLUE_RX) {
		case 'F': {
			CMDE = AVANT;
			//New_CMDE = 1;
			break;
		}

		case 'B': {
			CMDE = ARRIERE;
			//New_CMDE = 1;
			break;
		}

		case 'L': {
			CMDE = GAUCHE;
			//New_CMDE = 1;
			break;
		}

		case 'R': {
			CMDE = DROITE;
			//New_CMDE = 1;
			break;
		}

		case 'D':{
			// disconnect bluetooth
			break;
		}
		case 'Z': {
			CMDE = SERVO_ROTATE_0;
			//New_CMDE = 1;
			break;
		}
		case 'M': {
			CMDE = SERVO_ROTATE_90;
			//New_CMDE = 1;
			break;
		}
		case 'P': {
			CMDE = SERVO_ROTATE_180;
			//New_CMDE = 1;
			break;
		}
		case 'S': {
			CMDE = STOP_ARRET;
			//New_CMDE = 1;
			break;
		}
		case 'U': {
			CMDE = PARK;
			//New_CMDE = 1;
			break;
		}
		case 'W': {
			CMDE = MOV_PARK;
			New_CMDE = 1;
			break;
		}
		default:
			New_CMDE = 1;
		}

		HAL_UART_Receive_IT(&huart3, &BLUE_RX, 1);

	}
}

void HAL_ADC_ConvCpltCallback(ADC_HandleTypeDef *hadc) {

	Dist_ACS_3 = adc_buffer[0] - adc_buffer[5];
	Dist_ACS_4 = adc_buffer[3] - adc_buffer[8];
	Dist_ACS_1 = adc_buffer[1] - adc_buffer[6];
	Dist_ACS_2 = adc_buffer[2] - adc_buffer[7];
	vbatt = adc_buffer[4];
	HAL_ADC_Stop_DMA(hadc);
}

void HAL_TIM_PeriodElapsedCallback(TIM_HandleTypeDef * htim) {
	static unsigned char cpt = 0;

	if ( htim->Instance == TIM2) {
		cpt++;
		Time++;
		Tech++;

		// Compteurs ajoutés
		TurnServoCounter++;
		tour_dist++;
		TurnCounter++;

		switch (cpt) {
		case 1: {
			HAL_GPIO_WritePin(IR3_out_GPIO_Port, IR3_out_Pin, GPIO_PIN_SET);
			HAL_GPIO_WritePin(IR4_out_GPIO_Port, IR4_out_Pin, GPIO_PIN_SET);
			HAL_GPIO_WritePin(IR1_out_GPIO_Port, IR1_out_Pin, GPIO_PIN_SET);
			HAL_GPIO_WritePin(IR2_out_GPIO_Port, IR2_out_Pin, GPIO_PIN_SET);
			break;
		}
		case 2: {
			HAL_ADC_Start_DMA(&hadc1, (uint32_t *) adc_buffer, 10);
			break;
		}
		case 3: {
			HAL_GPIO_WritePin(IR3_out_GPIO_Port, IR3_out_Pin, GPIO_PIN_RESET);
			HAL_GPIO_WritePin(IR4_out_GPIO_Port, IR4_out_Pin, GPIO_PIN_RESET);
			HAL_GPIO_WritePin(IR1_out_GPIO_Port, IR1_out_Pin, GPIO_PIN_RESET);
			HAL_GPIO_WritePin(IR2_out_GPIO_Port, IR2_out_Pin, GPIO_PIN_RESET);
			break;
		}
		case 4: {
			HAL_ADC_Start_DMA(&hadc1, (uint32_t *) adc_buffer, 10);
			break;
		}
		default:
			cpt = 0;
		}
	}
}

void HAL_GPIO_EXTI_Callback(uint16_t GPIO_Pin) {

	static unsigned char TOGGLE = 0;

	if (TOGGLE)
		CMDE = STOP;
	else
		CMDE = START;
	TOGGLE = ~TOGGLE;
	New_CMDE = 1;
}

// LED TÉMOIN BATTERIE
void HAL_ADC_LevelOutOfWindowCallback(ADC_HandleTypeDef* hadc){
	HAL_GPIO_WritePin(LD2_GPIO_Port, LD2_Pin, GPIO_PIN_SET);
}

void HAL_TIM_IC_CaptureCallback(TIM_HandleTypeDef * htim) {
	if(htim->Channel == HAL_TIM_ACTIVE_CHANNEL_2) {
		Dist_Obst = HAL_TIM_ReadCapturedValue(&htim1, TIM_CHANNEL_2);
		Dist_Obst_ = Dist_Obst;
		Dist_Obst_cm = 645*Dist_Obst_/65535;
	}
}

void SonarStart(void){
	HAL_GPIO_WritePin(TRIG_SONAR_GPIO_Port, TRIG_SONAR_Pin, GPIO_PIN_SET);
}

void SonarStop(void){
	HAL_GPIO_WritePin(TRIG_SONAR_GPIO_Port, TRIG_SONAR_Pin, GPIO_PIN_RESET);
}

void ServoAngle(int16_t angle){
	switch(angle){
			case 0:{
				__HAL_TIM_SET_COMPARE(&htim1, TIM_CHANNEL_4, (uint16_t ) PWM_0);
				break;
			}
			case 90:{
				__HAL_TIM_SET_COMPARE(&htim1, TIM_CHANNEL_4, (uint16_t ) PWM_90);
				break;
			}
			case 180:{
				__HAL_TIM_SET_COMPARE(&htim1, TIM_CHANNEL_4, (uint16_t ) PWM_180);
				break;
			}
			default:{
				__HAL_TIM_SET_COMPARE(&htim1, TIM_CHANNEL_4, (uint16_t ) PWM_90);
				break;
			}
	}
}

void MesurePosition(){
	switch (Mesure_State){
		case SERVO_ROTATE_Y: {
			ServoAngle(0);
			TurnServoCounter = 0;
			Mesure_State = MESURE_Y;
			break;
		}
		case MESURE_Y: {
			if (TurnServoCounter >= TURN_SERVO_TIME){
				z = Dist_Obst_cm;
				Mesure_State = SERVO_ROTATE_X;
			}
			break;
		}
		case SERVO_ROTATE_X: {
			ServoAngle(90);
			TurnServoCounter = 0;
			Mesure_State = MESURE_X;
			break;
		}
		case MESURE_X: {
			if (TurnServoCounter >= TURN_SERVO_TIME){
				x = Dist_Obst_cm;
				Mesure_State = SERVO_ROTATE_Z;
			}
			break;
		}
		case SERVO_ROTATE_Z: {
			ServoAngle(180);
			TurnServoCounter = 0;
			Mesure_State = MESURE_Z;
			break;
		}
		case MESURE_Z: {
			if (TurnServoCounter >= TURN_SERVO_TIME){
				y = Dist_Obst_cm;
				Mesure_State = END;
			}
			break;
		}
		case END: {
			ServoAngle(90);
			Mesure_On = 0;
		}

	}
}

void MES_PARK(){
	switch (Mesure_State){
		case SERVO_ROTATE_Y: {
			ServoAngle(0);
			TurnServoCounter = 0;
			Mesure_State = MESURE_Y;
			break;
		}
		case MESURE_Y: {
			if (TurnServoCounter >= TURN_SERVO_TIME){
				z0 = Dist_Obst_cm;
				Mesure_State = SERVO_ROTATE_X;
			}
			break;
		}
		case SERVO_ROTATE_X: {
			ServoAngle(90);
			TurnServoCounter = 0;
			Mesure_State = MESURE_X;
			break;
		}
		case MESURE_X: {
			if (TurnServoCounter >= TURN_SERVO_TIME){
				x0 = Dist_Obst_cm;
				Mesure_State = SERVO_ROTATE_Z;
			}
			break;
		}
		case SERVO_ROTATE_Z: {
			ServoAngle(180);
			TurnServoCounter = 0;
			Mesure_State = MESURE_Z;
			break;
		}
		case MESURE_Z: {
			if (TurnServoCounter >= TURN_SERVO_TIME){
				y0 = Dist_Obst_cm;
				Mesure_State = END;
			}
			break;
		}
		case END: {
			ServoAngle(90);
			Mesure_Park_On = 0;
		}

	}
}

void TurnRight(){
	if (TurnCounter >= TURN_RIGHT_TIME){
		CMDE = STOP_ARRET;
		New_CMDE = 1;
		TurnRightOn = 0;
	}
	else{
		CMDE = DROITE;
		New_CMDE = 1;
	}
}

void TurnLeft(){
	if (TurnCounter >= TURN_LEFT_TIME){
		CMDE = STOP_ARRET;
		New_CMDE = 1;
		TurnLeftOn = 0;
	}
	else{
		CMDE = GAUCHE;
		New_CMDE = 1;
	}
}

void MOVPARK(){
	switch (MovPark_State){
		case FORWARD: {
			if (TurnServoCounter <= FORWARD_50_TIME){
				CMDE = AVANT;
				New_CMDE = 1;
			}
			else {
				CMDE = STOP_ARRET;
				New_CMDE = 1;
				MovPark_State = POSITION;
				Mesure_State = SERVO_ROTATE_Y;
				Mesure_On = 1;
			}
			break;
		}
		case POSITION: {
			MesurePosition();
			if (!Mesure_On){
				if (y >= y0+30){
					MovPark_State = TURN_R1;
					TurnRightOn = 1;
				}
				else {
					MovPark_State = TURN_L1;
					TurnLeftOn = 1;
				}
				TurnCounter = 0;
			}
			break;
		}
		case TURN_R1: {
			TurnRight();
			if (!TurnRightOn)
				MovPark_State = FORWARD_Y;
			break;
		}
		case TURN_R2: {
			TurnRight();
			if (!TurnRightOn)
				MovPark_State = FORWARD_X;
			break;
		}
		case TURN_L1: {
			TurnLeft();
			if (!TurnLeftOn)
				MovPark_State = FORWARD_Z;
			break;
		}
		case TURN_L2: {
			TurnLeft();
			if (!TurnLeftOn)
				MovPark_State = FORWARD_X;
			break;
		}
		case FORWARD_X: {
			CMDE = AVANT;
			New_CMDE = 1;
			if ((int)(Dist_Obst_cm) <= x0+10)
				MovPark_State = FINISH;
			break;
		}
		case FORWARD_Y: {
			CMDE = AVANT;
			New_CMDE = 1;
			if ((int)(Dist_Obst_cm) <= y0-30){
				MovPark_State = TURN_L2;
				TurnLeftOn = 1;
				TurnCounter = 300;
			}
			break;
		}
		case FORWARD_Z: {
			CMDE = AVANT;
			New_CMDE = 1;
			if ((int)(Dist_Obst_cm) <= z0+30){
				MovPark_State = TURN_R2;
				TurnRightOn = 1;
				TurnCounter = 300;
			}
			break;
		}
		case FINISH: {
			SonarStop();
			CMDE = STOP_ARRET;
			New_CMDE = 1;
			MovPark_On = 0;
			break;
		}
	}
}

void SonarDistance(){
	switch(Distance_State){
		case WAIT_MESURE:{
			Distance_State = (tour_dist >= 50) ? MEAN_MESURE : WAIT_MESURE;
			break;
		}
		case MEAN_MESURE: {
			// À VOIR ET CORRIGER
			Dist_Obst_ = Dist_Obst;
			Dist_Obst_cm = 645*Dist_Obst_/65535;
			// MOYENNE SUR 5 MESURES DE SONAR
			if(Mean){
				Dist_cm[tab_elem] = Dist_Obst_cm;
				Dist_Obst_cm_moy = (Dist_cm[0]+Dist_cm[1]+Dist_cm[2]+Dist_cm[3])/4;
				tab_elem = (tab_elem+1)%4;
			}
			Distance_State = WAIT_MESURE;
			break;
		}
	}
}

void ENVOYER()
{
	HAL_UART_Transmit(&huart1, 'a', sizeof('a'), HAL_MAX_DELAY);
}

/* USER CODE END 4 */

void Error_Handler(void)
{
}
